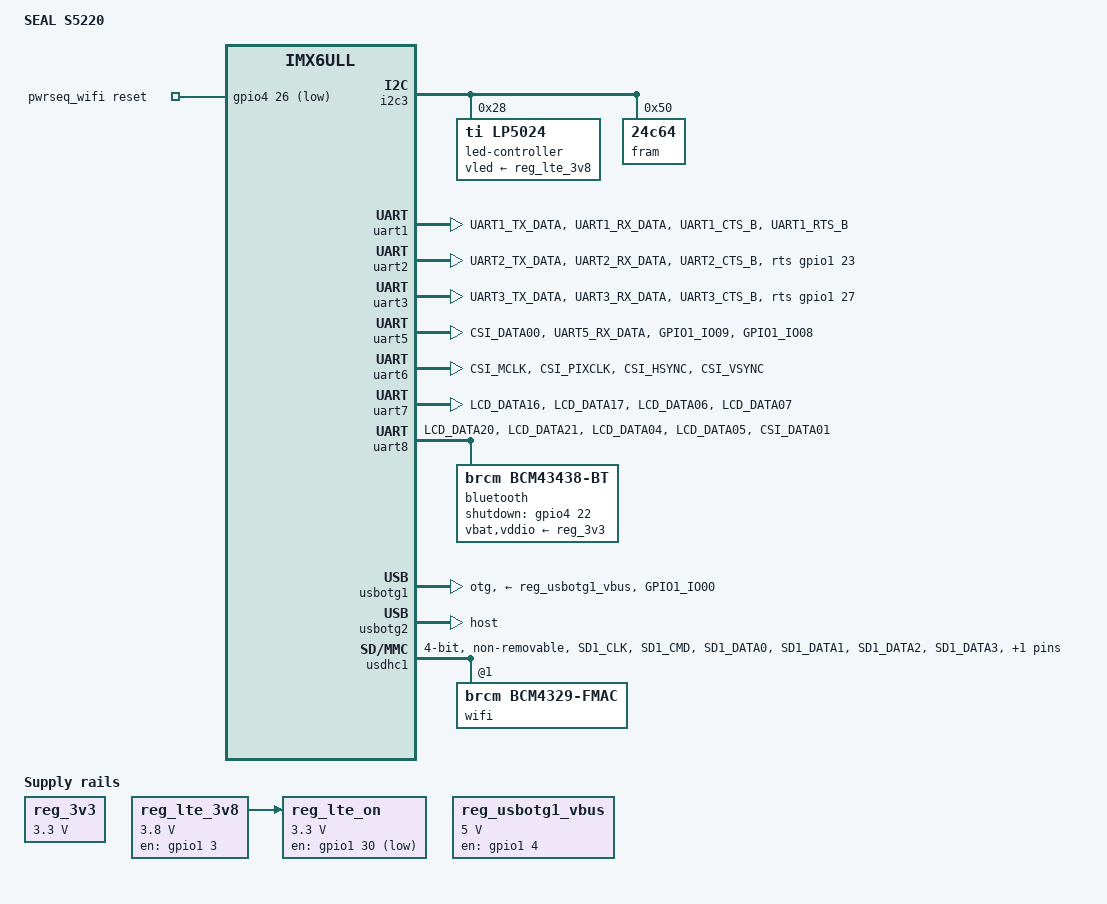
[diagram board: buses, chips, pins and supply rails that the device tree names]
// SPDX-License-Identifier: GPL-2.0+
/*
 * Copyright (C) 2020 SEAL AG
 */

/dts-v1/;

#include "seal-imx6ull-common.dtsi"

/ {
	model = "SEAL S5220";
	compatible = "seal,s5220", "fsl,imx6ull";

	pwrseq_wifi: pwrseq-wifi {
		compatible = "mmc-pwrseq-simple";
		reset-gpios = <&gpio4 26 GPIO_ACTIVE_LOW>;
		clocks = <&ds3231 1>;
		clock-names = "ext_clock";
	};

	reg_3v3: regulator-3v3 {
		compatible = "regulator-fixed";
		regulator-name = "3v3";
		regulator-min-microvolt = <3300000>;
		regulator-max-microvolt = <3300000>;
		regulator-always-on;
	};

	reg_lte_3v8: regulator-lte3v8 {
		compatible = "regulator-fixed";
		regulator-name = "lte3v8";
		regulator-min-microvolt = <3800000>;
		regulator-max-microvolt = <3800000>;
		pinctrl-names = "default";
		pinctrl-0 = <&pinctrl_lte_3v8>;
		gpio = <&gpio1 3 GPIO_ACTIVE_HIGH>;
		enable-active-high;
		startup-delay-us = <100000>;
	};

	reg_lte_on: regulator-lteon {
		compatible = "regulator-fixed";
		regulator-name = "lteon";
		regulator-min-microvolt = <3300000>;
		regulator-max-microvolt = <3300000>;
		pinctrl-names = "default";
		pinctrl-0 = <&pinctrl_lte_on>;
		gpio = <&gpio1 30 GPIO_ACTIVE_LOW>;
		vin-supply = <&reg_lte_3v8>;
		regulator-always-on;
	};

	reg_usbotg1_vbus: regulator-usbotg1vbus {
		compatible = "regulator-fixed";
		regulator-name = "usbotg1vbus";
		regulator-min-microvolt = <5000000>;
		regulator-max-microvolt = <5000000>;
		pinctrl-names = "default";
		pinctrl-0 = <&pinctrl_usbotg1_vbus>;
		gpio = <&gpio1 4 GPIO_ACTIVE_HIGH>;
		enable-active-high;
	};
};

&i2c3 {
	led-controller@28 {
		compatible = "ti,lp5024";
		reg = <0x28>;
		#address-cells = <1>;
		#size-cells = <0>;

		vled-supply = <&reg_lte_3v8>;

		led@0 {
			label = "s5220::1";
			reg = <0>;
			led-sources = <0>;
		};

		led@1 {
			label = "s5220::2";
			reg = <1>;
			led-sources = <1>;
		};

		led@2 {
			label = "s5220::3";
			reg = <2>;
			led-sources = <2>;
		};

		led@3 {
			label = "s5220::4";
			reg = <3>;
			led-sources = <3>;
		};
	};

	fram@50 {
		compatible = "24c64";
		reg = <0x50>;
		pagesize = <8192>;
	};
};

&iomuxc {
	pinctrl-names = "default";
	pinctrl-0 = <&pinctrl_hog>;

	pinctrl_hog: hoggrp {
		fsl,pins = <
			/* LTE_EMERG_RST */
			MX6UL_PAD_GPIO1_IO05__GPIO1_IO05	0x130b0
		>;
	};

	pinctrl_lte_3v8: lte3v8grp {
		fsl,pins = <
			MX6UL_PAD_GPIO1_IO03__GPIO1_IO03	0x1b0b0
		>;
	};

	pinctrl_lte_on: lteongrp {
		fsl,pins = <
			MX6UL_PAD_UART5_TX_DATA__GPIO1_IO30	0x1f0b0
		>;
	};

	pinctrl_uart1: uart1grp {
		fsl,pins = <
			MX6UL_PAD_UART1_TX_DATA__UART1_DCE_TX	0x1b0b1
			MX6UL_PAD_UART1_RX_DATA__UART1_DCE_RX	0x1b0b1
			MX6UL_PAD_UART1_CTS_B__UART1_DCE_CTS	0x1b0b1
			MX6UL_PAD_UART1_RTS_B__UART1_DCE_RTS	0x1b0b1
		>;
	};

	pinctrl_uart2: uart2grp {
		fsl,pins = <
			MX6UL_PAD_UART2_TX_DATA__UART2_DCE_TX	0x1b0b1
			MX6UL_PAD_UART2_RX_DATA__UART2_DCE_RX	0x1b0b1
			MX6UL_PAD_UART2_CTS_B__UART2_DCE_CTS	0x1b0b1
		>;
	};

	pinctrl_uart3: uart3grp {
		fsl,pins = <
			MX6UL_PAD_UART3_TX_DATA__UART3_DCE_TX	0x1b0b1
			MX6UL_PAD_UART3_RX_DATA__UART3_DCE_RX	0x1b0b1
			MX6UL_PAD_UART3_CTS_B__UART3_DCE_CTS	0x1b0b1
		>;
	};

	pinctrl_uart5: uart5grp {
		fsl,pins = <
			MX6UL_PAD_CSI_DATA00__UART5_DCE_TX	0x1b0b1
			MX6UL_PAD_UART5_RX_DATA__UART5_DCE_RX	0x1b0b1
			MX6UL_PAD_GPIO1_IO09__GPIO1_IO09	0x1b0b1
			MX6UL_PAD_GPIO1_IO08__GPIO1_IO08	0x1b0b1
		>;
	};

	pinctrl_uart6: uart6grp {
		fsl,pins = <
			MX6UL_PAD_CSI_MCLK__UART6_DCE_TX	0x1b0b1
			MX6UL_PAD_CSI_PIXCLK__UART6_DCE_RX	0x1b0b1
			MX6UL_PAD_CSI_HSYNC__UART6_DCE_CTS	0x1b0b1
			MX6UL_PAD_CSI_VSYNC__UART6_DCE_RTS	0x1b0b1
		>;
	};

	pinctrl_uart7: uart7grp {
		fsl,pins = <
			MX6UL_PAD_LCD_DATA16__UART7_DCE_TX	0x1b0b1
			MX6UL_PAD_LCD_DATA17__UART7_DCE_RX	0x1b0b1
			MX6UL_PAD_LCD_DATA06__UART7_DCE_CTS	0x1b0b1
			MX6UL_PAD_LCD_DATA07__UART7_DCE_RTS	0x1b0b1
		>;
	};

	pinctrl_uart8: uart8grp {
		fsl,pins = <
			MX6UL_PAD_LCD_DATA20__UART8_DCE_TX	0x1b0b1
			MX6UL_PAD_LCD_DATA21__UART8_DCE_RX	0x1b0b1
			MX6UL_PAD_LCD_DATA04__UART8_DCE_CTS	0x1b0b1
			MX6UL_PAD_LCD_DATA05__UART8_DCE_RTS	0x1b0b1
			/* BT_REG_ON */
			MX6UL_PAD_CSI_DATA01__GPIO4_IO22	0x1b0b0
		>;
	};

	pinctrl_usbotg1_id: usbotg1idgrp {
		fsl,pins = <
			MX6UL_PAD_GPIO1_IO00__ANATOP_OTG1_ID	0x1b0b0
		>;
	};

	pinctrl_usbotg1_vbus: usbotg1vbusgrp {
		fsl,pins = <
			MX6UL_PAD_GPIO1_IO04__GPIO1_IO04	0x1b0b0
		>;
	};

	pinctrl_usdhc1: usdhc1grp {
		fsl,pins = <
			MX6UL_PAD_SD1_CLK__USDHC1_CLK		0x17070
			MX6UL_PAD_SD1_CMD__USDHC1_CMD		0x1f070
			MX6UL_PAD_SD1_DATA0__USDHC1_DATA0	0x17070
			MX6UL_PAD_SD1_DATA1__USDHC1_DATA1	0x17070
			MX6UL_PAD_SD1_DATA2__USDHC1_DATA2	0x17070
			MX6UL_PAD_SD1_DATA3__USDHC1_DATA3	0x17070
			/* WL_REG_ON */
			MX6UL_PAD_CSI_DATA05__GPIO4_IO26	0x130b0
		>;
	};
};

&uart1 {
	pinctrl-names = "default";
	pinctrl-0 = <&pinctrl_uart1>;
	uart-has-rtscts;
	status = "okay";
};

&uart2 {
	pinctrl-names = "default";
	pinctrl-0 = <&pinctrl_uart2>;
	uart-has-rtscts;
	status = "okay";
	linux,rs485-enabled-at-boot-time;
	rts-gpios = <&gpio1 23 0>;
};

&uart3 {
	pinctrl-names = "default";
	pinctrl-0 = <&pinctrl_uart3>;
	uart-has-rtscts;
	status = "okay";
	linux,rs485-enabled-at-boot-time;
	rts-gpios = <&gpio1 27 0>;
};

&uart5 {
	pinctrl-names = "default";
	pinctrl-0 = <&pinctrl_uart5>;
	status = "okay";
};

&uart6 {
	pinctrl-names = "default";
	pinctrl-0 = <&pinctrl_uart6>;
	uart-has-rtscts;
	status = "okay";
};

&uart7 {
	pinctrl-names = "default";
	pinctrl-0 = <&pinctrl_uart7>;
	uart-has-rtscts;
	status = "okay";
};

&uart8 {
	pinctrl-names = "default";
	pinctrl-0 = <&pinctrl_uart8>;
	uart-has-rtscts;
	status = "okay";

	bluetooth {
		compatible = "brcm,bcm43438-bt";
		clocks = <&ds3231 1>;
		clock-names = "lpo";
		vbat-supply = <&reg_3v3>;
		vddio-supply = <&reg_3v3>;
		shutdown-gpios = <&gpio4 22 GPIO_ACTIVE_HIGH>;
		max-speed = <3000000>;
	};
};

&usbotg1 {
	pinctrl-names = "default";
	pinctrl-0 = <&pinctrl_usbotg1_id>;
	vbus-supply = <&reg_usbotg1_vbus>;
	dr_mode = "otg";
	disable-over-current;
	status = "okay";
};

&usbotg2 {
	dr_mode = "host";
	disable-over-current;
	status = "okay";
};

&usdhc1 {
	pinctrl-names = "default";
	pinctrl-0 = <&pinctrl_usdhc1>;
	bus-width = <4>;
	no-1-8-v;
	non-removable;
	mmc-pwrseq = <&pwrseq_wifi>;
	status = "okay";

	#address-cells = <1>;
	#size-cells = <0>;

	wifi@1 {
		compatible = "brcm,bcm4329-fmac";
		reg = <1>;
	};
};
